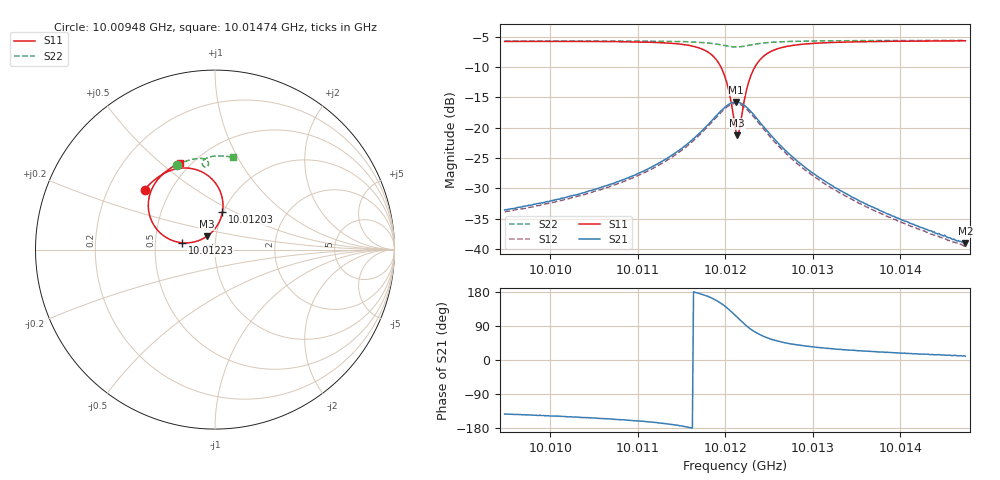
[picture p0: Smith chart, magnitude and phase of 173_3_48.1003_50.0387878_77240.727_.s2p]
#  HZ  S  RI  R  50.00
! Rohde & Schwarz Vector Network Analyzer
! Rohde-Schwarz,ZNB20-2Port,1311601062101988,3.16
! Created: UTC 12/23/2023, 3:52:00 AM
! freq[Hz]  re:S11  im:S11  re:S21  im:S21  re:S12  im:S12  re:S22  im:S22
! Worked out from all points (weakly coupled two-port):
!   401 points, 10.00948 GHz to 10.01474 GHz, reference 50 ohm
!   highest |S21| = -15.76 dB at 10.01212 GHz (marker M1); lowest = -39.1 dB at 10.01474 GHz (marker M2)
!   lowest |S11| = -21.2 dB at 10.01214 GHz (marker M3), VSWR 1.19, Z = 45.2 + j6.74 ohm
!   |S11| at or under -10 dB: 10.01195 GHz to 10.01234 GHz (387.5 kHz wide, 0.00387 % of centre)
!   |S22| runs from -6.7 to -5.6 dB; largest |S21 - S12| = 0.0082
!   S11 on the Smith chart (normalised r, x): 10.00948 GHz: 0.36, +0.33; 10.01203 GHz: 0.99, +0.44; 10.01223 GHz: 0.69, +0.05; 10.01474 GHz: 0.44, +0.58
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1.0009476e10  -0.3924 0.3333  -0.0167 -0.0127  -0.0155 -0.0132  -0.213 0.472
1.0010358e10  -0.3375 0.3882  -0.0254 -0.0137  -0.0237 -0.0144  -0.1583 0.4939
1.0010832e10  -0.2943 0.4187  -0.0344 -0.0141  -0.0327 -0.015  -0.1265 0.5027
1.001124e10  -0.2366 0.4444  -0.0497 -0.0125  -0.0471 -0.0144  -0.0963 0.5077
1.0011556e10  -0.1575 0.4546  -0.0724 -0.00447  -0.0696 -0.00801  -0.0694 0.5072
1.0011806e10  -0.0436 0.4155  -0.1043 0.0235  -0.1023 0.0178  -0.0454 0.4971
1.0011938e10  0.0285 0.3255  -0.1183 0.0653  -0.1183 0.0573  -0.0363 0.4825
1.0011991e10  0.0437 0.2639  -0.1167 0.089  -0.1176 0.0816  -0.0362 0.4747
1.001203e10  0.0416 0.2097  -0.1095 0.109  -0.1116 0.1011  -0.0381 0.4686
1.0012109e10  -0.0124 0.102  -0.0769 0.1435  -0.0802 0.137  -0.0486 0.4605
1.0012122e10  -0.028 0.087  -0.0695 0.1473  -0.0731 0.1408  -0.0509 0.4603
1.0012136e10  -0.0451 0.074  -0.0618 0.1504  -0.0656 0.144  -0.0531 0.4601
1.0012162e10  -0.0828 0.0532  -0.0461 0.1542  -0.05 0.1481  -0.0576 0.4609
1.0012228e10  -0.1821 0.0377  -0.00711 0.1504  -0.0112 0.1451  -0.0666 0.4672
1.0012267e10  -0.2349 0.0497  0.0122 0.1412  0.00682 0.1363  -0.0695 0.4728
1.001232e10  -0.29 0.08  0.03 0.125  0.0246 0.1211  -0.0705 0.4806
1.0012452e10  -0.3579 0.1715  0.0483 0.0863  0.043 0.0841  -0.064 0.4968
1.0012675e10  -0.369 0.2815  0.0461 0.0472  0.0421 0.0471  -0.0449 0.511
1.0012991e10  -0.3405 0.3596  0.0351 0.0242  0.0322 0.0247  -0.0188 0.5186
1.0013426e10  -0.2986 0.4129  0.0246 0.012  0.0228 0.0126  0.0138 0.5216
1.0013874e10  -0.2605 0.4449  0.018 0.00654  0.0168 0.00722  0.0448 0.5212
1.0014743e10  -0.1946 0.4832  0.0109 0.00194  0.0103 0.00266  0.1024 0.5142
